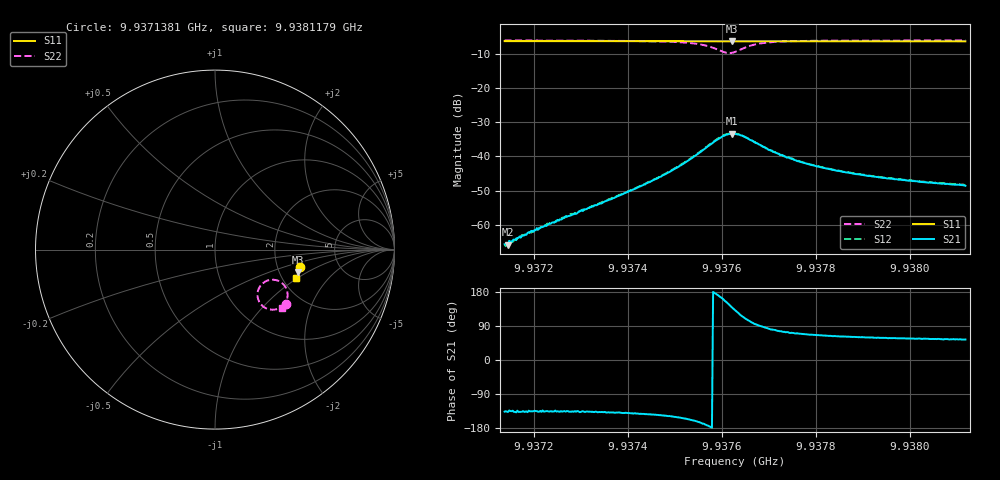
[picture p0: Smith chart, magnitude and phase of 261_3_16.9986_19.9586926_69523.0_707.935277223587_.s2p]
#  HZ  S  RI  R  50.00
! Rohde & Schwarz Vector Network Analyzer
! Rohde-Schwarz,ZNB20-2Port,1311601062101988,3.16
! Created: UTC 3/20/2024, 11:03:48 PM
! freq[Hz]  re:S11  im:S11  re:S21  im:S21  re:S12  im:S12  re:S22  im:S22
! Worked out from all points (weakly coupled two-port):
!   401 points, 9.9371381 GHz to 9.9381179 GHz, reference 50 ohm
!   highest |S21| = -33.30 dB at 9.9376207 GHz (marker M1); lowest = -65.7 dB at 9.9371455 GHz (marker M2)
!   lowest |S11| = -6.4 dB at 9.9376207 GHz (marker M3), VSWR 2.84, Z = 126 - j41.6 ohm
!   |S11| at or under -10 dB: nowhere
!   |S22| runs from -9.8 to -6.1 dB; largest |S21 - S12| = 0.00091
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9.93713812e9  0.4746 -0.0964  -0.000376 -0.000361  -0.000371 -0.00035  0.3929 -0.3006
9.93714546e9  0.4743 -0.097  -0.000377 -0.000352  -0.00038 -0.000361  0.3926 -0.3013
9.93717731e9  0.4737 -0.0992  -0.000493 -0.000497  -0.000511 -0.000501  0.3901 -0.3037
9.93719201e9  0.4734 -0.1001  -0.000558 -0.000547  -0.000555 -0.000537  0.3889 -0.3048
9.93722385e9  0.4728 -0.1021  -0.000702 -0.000685  -0.000708 -0.000672  0.386 -0.3074
9.93730224e9  0.4713 -0.1077  -0.00118 -0.00115  -0.00123 -0.00112  0.3783 -0.314
9.93736838e9  0.4698 -0.1119  -0.00183 -0.00163  -0.00191 -0.00166  0.3693 -0.3206
9.93746636e9  0.4677 -0.1187  -0.00409 -0.00281  -0.00415 -0.00279  0.3453 -0.3316
9.9375178e9  0.4662 -0.1223  -0.007 -0.00345  -0.00718 -0.00339  0.3185 -0.3352
9.93756434e9  0.4645 -0.1253  -0.0128 -0.00224  -0.0131 -0.00194  0.2715 -0.3194
9.93759864e9  0.4629 -0.1268  -0.0184 0.00497  -0.0188 0.00564  0.2364 -0.2528
9.93761088e9  0.4626 -0.127  -0.0183 0.00987  -0.0182 0.0108  0.2453 -0.2145
9.93762068e9  0.4625 -0.1271  -0.0166 0.0139  -0.0163 0.0145  0.2659 -0.1879
9.93762803e9  0.4626 -0.1273  -0.0142 0.0161  -0.0138 0.0168  0.2872 -0.1744
9.93764028e9  0.4628 -0.1278  -0.00951 0.0179  -0.00907 0.0184  0.3251 -0.1678
9.93765498e9  0.463 -0.1287  -0.00487 0.0177  -0.0045 0.0179  0.3613 -0.1784
9.93768437e9  0.463 -0.1309  0.000278 0.0144  0.000792 0.0143  0.3958 -0.2147
9.93772846e9  0.4625 -0.1343  0.00271 0.0101  0.00297 0.01  0.4046 -0.2532
9.93779215e9  0.461 -0.1386  0.00297 0.00683  0.00313 0.00686  0.3998 -0.2811
9.93786074e9  0.4595 -0.1433  0.00279 0.00522  0.00291 0.00522  0.3926 -0.2972
9.93795627e9  0.457 -0.1495  0.00253 0.00404  0.00264 0.00404  0.3842 -0.3104
9.93811795e9  0.4529 -0.1601  0.00218 0.00302  0.00231 0.00306  0.3724 -0.3252
